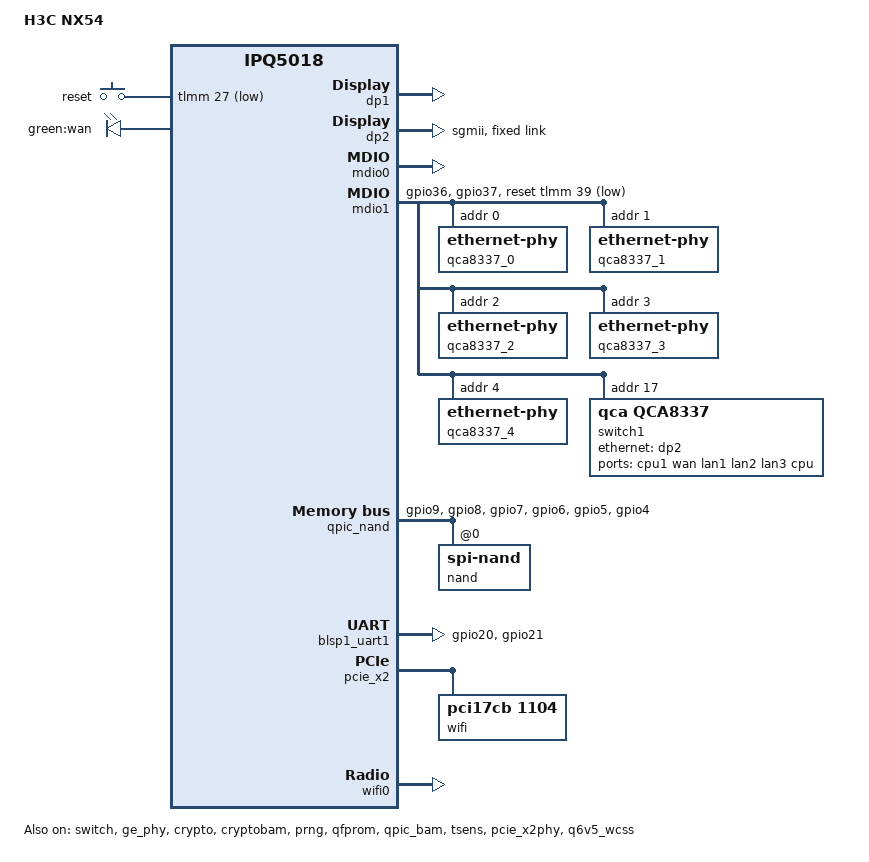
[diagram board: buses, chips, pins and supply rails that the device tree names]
// SPDX-License-Identifier: (GPL-2.0+)

/dts-v1/;

#include "ipq5018.dtsi"
#include "ipq5018-ess.dtsi"

#include <dt-bindings/gpio/gpio.h>
#include <dt-bindings/input/input.h>
#include <dt-bindings/leds/common.h>

/ {
	model = "H3C NX54";
	compatible = "h3c,nx54", "qcom,ipq5018";

	aliases {
		serial0 = &blsp1_uart1;

		ethernet0 = &dp1;
		ethernet1 = &dp2;

		// led-boot = &led_system_blue;
		// led-failsafe = &led_system_yellow;
		led-running = &led_wan_green;
		// led-upgrade = &led_system_yellow;
	};

	chosen {
		// Override the root parameter from u-boot
		// Increase coherent_pool size for WiFi
		bootargs-append = " root=/dev/ubiblock0_1 coherent_pool=2M";
		stdout-path = "serial0:115200n8";
	};

	keys {
		compatible = "gpio-keys";
		pinctrl-0 = <&button_pins>;
		pinctrl-names = "default";

		button_reset {
			label = "reset";
			gpios = <&tlmm 27 GPIO_ACTIVE_LOW>;
			linux,input-type = <EV_KEY>;
			linux,code = <KEY_RESTART>;
			debounce-interval = <60>;
		};
	};
	reserved-memory {
		nss@40000000 {
			no-map;
			reg = <0x00 0x40000000 0x00 0x1000000>;
		};
		// Not sure why but without this, WiFi will crash
		tz_apps@4a400000 {
			no-map;
			// The size is incorrent, but it works
			reg = <0x0 0x4a400000 0x0 0x700000>;
		};

		q6_mem_regions: q6_mem_regions@4B000000 {
			no-map;
			reg = <0x0 0x4B000000 0x0 0x3A00000>;
		};

		mhi_region1: dma_pool1@4ea00000 {
			compatible = "shared-dma-pool";
			no-map;
			reg = <0x0 0x4ea00000 0x0 0x01000000>;
		};
	};
};

&switch {
	status = "okay";

	switch_mac_mode = <MAC_MODE_SGMII_CHANNEL0>;

	qcom,port_phyinfo {
		// MAC0 -> GE Phy -> QCA8337 Phy4
		port@0 {
			port_id = <1>;
			mdiobus = <&mdio0>;
			phy_address = <7>;
			// status = "disabled";
		};

		// MAC1 ---SGMII---> QCA8337 SerDes
		port@1 {
			port_id = <2>;
			forced-speed = <1000>;
			forced-duplex = <1>;
		};
	};
};

// MAC0 -> GE Phy
&dp1 {
	/*
	 * ===============================================================
	 *     _______________________         _______________________
	 *    |        IPQ5018        |       |        QCA8337        |
	 *    | +------+   +--------+ |       | +--------+   +------+ |
	 *    | | MAC0 |---| GE Phy |-+--UTP--+-|  Phy4  |---| MAC5 | |
	 *    | +------+   +--------+ |       | +--------+   +------+ |
	 *    | +------+   +--------+ |       | +--------+   +------+ |
	 *    | | MAC1 |---| Uniphy |-+-SGMII-+-| SerDes |---| MAC0 | |
	 *    | +------+   +--------+ |       | +--------+   +------+ |
	 *    |_______________________|       |_______________________|
	 *
	 * ===============================================================
	 *
	 * Current drivers don't support such topology. So dp1 and ge_phy
	 * are useless. But they can't be disabled dut to qca-ssdk use
	 * ge_phy to detect IPQ5018 dummy switch.
	 */
	status = "okay";
};

// MAC1 ---SGMII---> QCA8337 SerDes
&dp2 {
	status = "okay";
	phy-mode = "sgmii";

	fixed-link {
		speed = <1000>;
		full-duplex;
	};
};

&mdio0 {
	status = "okay";
};

// IPQ5018 GE Phy -> QCA8337 Phy1
&ge_phy {
	status = "okay";
};

&mdio1 {
	status = "okay";

	pinctrl-0 = <&mdio1_pins>;
	pinctrl-names = "default";
	reset-gpios = <&tlmm 39 GPIO_ACTIVE_LOW>;

	// QCA8337 Phy0 -> IPQ5018 GE Phy
	qca8337_0: ethernet-phy@0 {
		reg = <0>;
	};

	// QCA8337 Phy1 -> WAN
	qca8337_1: ethernet-phy@1 {
		reg = <1>;
	};

	// QCA8337 Phy2 -> LAN1
	qca8337_2: ethernet-phy@2 {
		reg = <2>;
	};

	// QCA8337 Phy3 -> LAN2
	qca8337_3: ethernet-phy@3 {
		reg = <3>;
	};

	// QCA8337 Phy4 -> LAN3
	qca8337_4: ethernet-phy@4 {
		reg = <4>;
	};

	// QCA8337 switch
	switch1: ethernet-switch@17 {
		compatible = "qca,qca8337";
		reg = <17>;
		#address-cells = <1>;
		#size-cells = <0>;

		ports {
			#address-cells = <1>;
			#size-cells = <0>;

			port@1 {
				reg = <1>;
				label = "cpu1";
				phy-handle = <&qca8337_0>;
				status = "disabled";
			};

			port@2 {
				reg = <2>;
				label = "wan";
				phy-handle = <&qca8337_1>;
			};

			port@3 {
				reg = <3>;
				label = "lan1";
				phy-handle = <&qca8337_2>;
			};

			port@4 {
				reg = <4>;
				label = "lan2";
				phy-handle = <&qca8337_3>;
			};

			port@5 {
				reg = <5>;
				label = "lan3";
				phy-handle = <&qca8337_4>;
			};

			port@6 {
				reg = <6>;
				label = "cpu";
				phy-mode = "sgmii";
				ethernet = <&dp2>;
				qca,sgmii-enable-pll;

				fixed-link {
					speed = <1000>;
					full-duplex;
				};
			};
		};
	};
};

&sleep_clk {
	clock-frequency = <32000>;
};

&xo_board_clk {
	clock-frequency = <24000000>;
};

&crypto {
	status = "okay";
};

&cryptobam {
	status = "okay";
};

&prng {
	status = "okay";
};

&qfprom {
	status = "okay";
};

&qpic_bam {
	status = "okay";
};

&qpic_nand {
	pinctrl-0 = <&qspi_nand_pins>;
	pinctrl-names = "default";
	status = "okay";
	
	nand@0 {
		compatible = "spi-nand";
		reg = <0>;
		#address-cells = <1>;
		#size-cells = <1>;

		nand-ecc-engine = <&qpic_nand>;
		nand-ecc-strength = <4>;
		nand-ecc-step-size = <512>;
		nand-bus-width = <8>;
		partitions {
			compatible = "qcom,smem-part";
		};
	};
};

&tlmm {
	blsp0_uart_pins: uart0-state {
		pins =
			"gpio20", // RX
			"gpio21"; // TX
		function = "blsp0_uart0";
		bias-disable;
	};

	qspi_nand_pins: qspi_nand_pins {
		clock {
			pins = "gpio9";
			function = "qspi_clk";
			drive-strength = <8>;
			bias-disable;
		};

		cs {
			pins = "gpio8";
			function = "qspi_cs";
			drive-strength = <8>;
			bias-disable;
		};

		data0 {
			pins = "gpio7";
			function = "qspi_data";
			drive-strength = <8>;
			bias-disable;
		};

		data1 {
			pins = "gpio6";
			function = "qspi_data";
			drive-strength = <8>;
			bias-disable;
		};

		data2 {
			pins = "gpio5";
			function = "qspi_data";
			drive-strength = <8>;
			bias-disable;
		};

		data3 {
			pins = "gpio4";
			function = "qspi_data";
			drive-strength = <8>;
			bias-disable;
		};
	};

	mdio1_pins: mdio-state {
		mdc-pins {
			pins = "gpio36";
			function = "mdc";
			drive-strength = <8>;
			bias-pull-up;
		};

		mdio-pins {
			pins = "gpio37";
			function = "mdio";
			drive-strength = <8>;
			bias-pull-up;
		};
	};

	leds_pins: leds_pins {
		led_wan_green {
			pins = "gpio46";
			function = "gpio";
			drive-strength = <8>;
			bias-pull-down;
		};

		// led_system_blue {
		// 	pins = "gpio19";
		// 	function = "gpio";
		// 	drive-strength = <8>;
		// 	bias-pull-down;
		// };

		// led_system_yellow {
		// 	pins = "gpio17";
		// 	function = "gpio";
		// 	drive-strength = <8>;
		// 	bias-pull-down;
		// };

		// led_internet_blue {
		// 	pins = "gpio22";
		// 	function = "gpio";
		// 	drive-strength = <8>;
		// 	bias-pull-down;
		// };

		// led_internet_yellow {
		// 	pins = "gpio20";
		// 	function = "gpio";
		// 	drive-strength = <8>;
		// 	bias-pull-down;
		// };
	};

	button_pins: button_pins {
		button_reset {
			pins = "gpio27";
			function = "gpio";
			drive-strength = <8>;
			bias-pull-up;
		};
	};
};

&blsp1_uart1 {
	pinctrl-0 = <&blsp0_uart_pins>;
	pinctrl-names = "default";
	status = "ok";
};

&tsens {
	status = "okay";
};

&soc {
	leds {
		compatible = "gpio-leds";
		pinctrl-0 = <&leds_pins>;
		pinctrl-names = "default";

		led_wan_green: led_wan_green {
			label = "green:wan";
			gpio = <&tlmm 46 GPIO_ACTIVE_HIGH>;
		};

		// led_system_blue: led_system_blue {
		// 	label = "blue:system";
		// 	gpio = <&tlmm 19 GPIO_ACTIVE_HIGH>;
		// 	default-state = "on";
		// };

		// led_system_yellow: led_system_yellow {
		// 	label = "yellow:system";
		// 	gpio = <&tlmm 17 GPIO_ACTIVE_HIGH>;
		// };

		// led_internet_blue: led_internet_blue {
		// 	label = "blue:internet";
		// 	gpio = <&tlmm 22 GPIO_ACTIVE_HIGH>;
		// };

		// led_internet_yellow: led_internet_yellow {
		// 	label = "yellow:internet";
		// 	gpio = <&tlmm 20 GPIO_ACTIVE_HIGH>;
		// };
	};
};


&pcie_x2phy {
	status = "okay";
};

&pcie_x2 {
	status = "okay";

	perst-gpios = <&tlmm 15 GPIO_ACTIVE_LOW>;

	bridge@0,0 {
		reg = <0x00000000 0 0 0 0>;
		#address-cells = <3>;
		#size-cells = <2>;
		ranges;

		wifi@1,0 {
			status = "okay";

			/* QCN9074: ath11k lacks DT compatible for PCI cards */
			compatible = "pci17cb,1104";
			reg = <0x00010000 0 0 0 0>;
			qcom,board_id = <0xa0>;
			qcom,ath11k-calibration-variant = "H3C_NX54-QCN9000";
		};
	};
};

&q6v5_wcss {
	status = "okay";

	memory-region = <&q6_mem_regions>;
	firmware-name = "ath11k/IPQ5018/hw1.0/q6_fw.mdt",
					"ath11k/IPQ5018/hw1.0/m3_fw.mdt";
	
	// IPQ5018
	q6_wcss_pd1: pd-1 {
		firmware-name = "ath11k/IPQ5018/hw1.0/q6_fw.mdt";

		resets =
			<&gcc GCC_WCSSAON_RESET>,
			<&gcc GCC_WCSS_BCR>,
			<&gcc GCC_CE_BCR>;
		reset-names =
			"wcss_aon_reset",
			"wcss_reset",
			"ce_reset";

		clocks =
			<&gcc GCC_WCSS_AHB_S_CLK>,
			<&gcc GCC_WCSS_ACMT_CLK>,
			<&gcc GCC_WCSS_AXI_M_CLK>;
		clock-names =
			"gcc_wcss_ahb_s_clk",
			"gcc_wcss_acmt_clk",
			"gcc_wcss_axi_m_clk";

		interrupts-extended =
			<&wcss_smp2p_in 8 0>,
			<&wcss_smp2p_in 9 0>,
			<&wcss_smp2p_in 12 0>,
			<&wcss_smp2p_in 11 0>;
		interrupt-names =
			"fatal",
			"ready",
			"spawn-ack",
			"stop-ack";

		qcom,smem-states =
			<&wcss_smp2p_out 8>,
			<&wcss_smp2p_out 9>,
			<&wcss_smp2p_out 10>;
		qcom,smem-state-names =
			"shutdown",
			"stop",
			"spawn";

		status = "okay";
	};
};

&wifi0 {
	// IPQ5018
	qcom,rproc = <&q6_wcss_pd1>;

	qcom,board_id = <0x24>;

	qcom,ath11k-fw-memory-mode = <2>;
	qcom,bdf-addr = <0x4c400000>;
	qcom,ath11k-calibration-variant = "H3C_NX54-IPQ5018";

	status = "okay";
};
